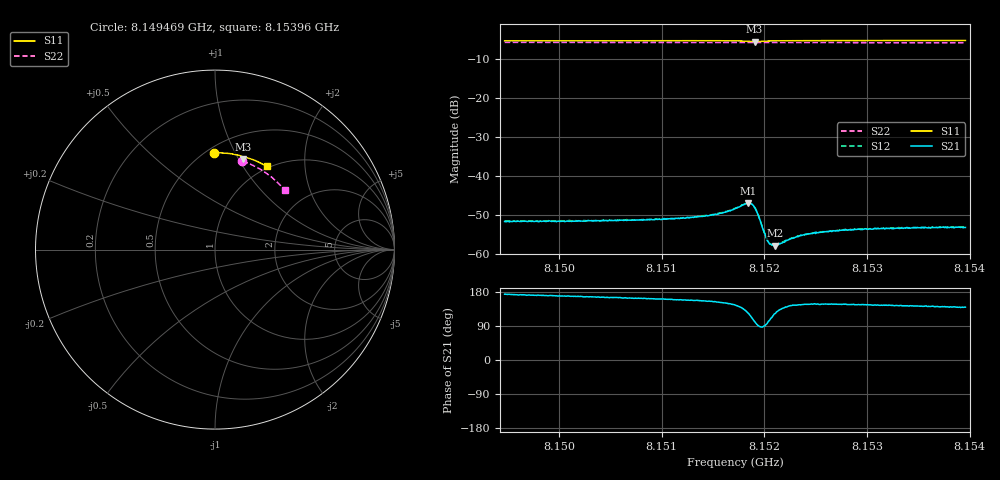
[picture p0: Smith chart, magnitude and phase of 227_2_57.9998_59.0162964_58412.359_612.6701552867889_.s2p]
#  HZ  S  RI  R  50.00
! Rohde & Schwarz Vector Network Analyzer
! Rohde-Schwarz,ZNB20-2Port,1311601062101988,3.16
! Created: UTC 3/21/2024, 1:00:24 AM
! freq[Hz]  re:S11  im:S11  re:S21  im:S21  re:S12  im:S12  re:S22  im:S22
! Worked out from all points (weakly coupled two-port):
!   401 points, 8.149469 GHz to 8.15396 GHz, reference 50 ohm
!   highest |S21| = -46.93 dB at 8.151838 GHz (marker M1); lowest = -57.7 dB at 8.152107 GHz (marker M2)
!   lowest |S11| = -5.6 dB at 8.151905 GHz (marker M3), VSWR 3.23, Z = 37.3 + j52.1 ohm
!   |S11| at or under -10 dB: nowhere
!   |S22| runs from -5.8 to -5.7 dB; largest |S21 - S12| = 0.00012
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8.1494687e9  -0.00687 0.5391  -0.00262 0.000293  -0.00263 0.000363  0.1528 0.4927
8.150221e9  0.0457 0.5384  -0.00261 0.000569  -0.00263 0.000656  0.1986 0.4752
8.1509732e9  0.0983 0.5324  -0.00267 0.000925  -0.00264 0.000942  0.242 0.4537
8.1512876e9  0.1204 0.5283  -0.00275 0.00111  -0.00275 0.00118  0.2596 0.4435
8.1514785e9  0.1343 0.5249  -0.00287 0.00136  -0.00286 0.00144  0.2699 0.4369
8.1516132e9  0.1445 0.5216  -0.00302 0.00169  -0.00301 0.00173  0.2771 0.4321
8.1517143e9  0.1525 0.5178  -0.00317 0.00219  -0.00314 0.00225  0.2826 0.4283
8.1518378e9  0.1595 0.5081  -0.00258 0.00369  -0.00253 0.00377  0.2889 0.4236
8.1518715e9  0.1583 0.505  -0.00182 0.00405  -0.00173 0.00413  0.2904 0.4223
8.1519052e9  0.1557 0.5041  -0.000799 0.0039  -0.000744 0.00395  0.292 0.4211
8.1519388e9  0.1538 0.5061  -8.15e-05 0.00322  -1.32e-05 0.00325  0.2937 0.42
8.151995e9  0.1559 0.5109  2.43e-05 0.00198  4.96e-05 0.00197  0.2966 0.4181
8.1520287e9  0.1589 0.5126  -0.000171 0.0015  -0.000165 0.00155  0.2984 0.4168
8.1520624e9  0.162 0.5135  -0.000452 0.00127  -0.000428 0.0013  0.3001 0.4157
8.1521073e9  0.1661 0.5138  -0.000705 0.00109  -0.000685 0.00107  0.3025 0.4139
8.1521746e9  0.172 0.5132  -0.00101 0.000969  -0.00103 0.00101  0.3058 0.4112
8.152242e9  0.1774 0.5123  -0.00123 0.000944  -0.00124 0.000991  0.3094 0.4086
8.1523655e9  0.1866 0.5097  -0.00145 0.000979  -0.00147 0.000992  0.3156 0.4037
8.1524666e9  0.1938 0.5077  -0.00155 0.000997  -0.00159 0.00103  0.3208 0.3995
8.1527697e9  0.2142 0.5001  -0.00173 0.0011  -0.0017 0.00117  0.3353 0.3867
8.1532188e9  0.2433 0.4876  -0.00176 0.00123  -0.00172 0.00128  0.356 0.3669
8.1539599e9  0.2887 0.4634  -0.00168 0.00144  -0.00166 0.00146  0.3875 0.332
